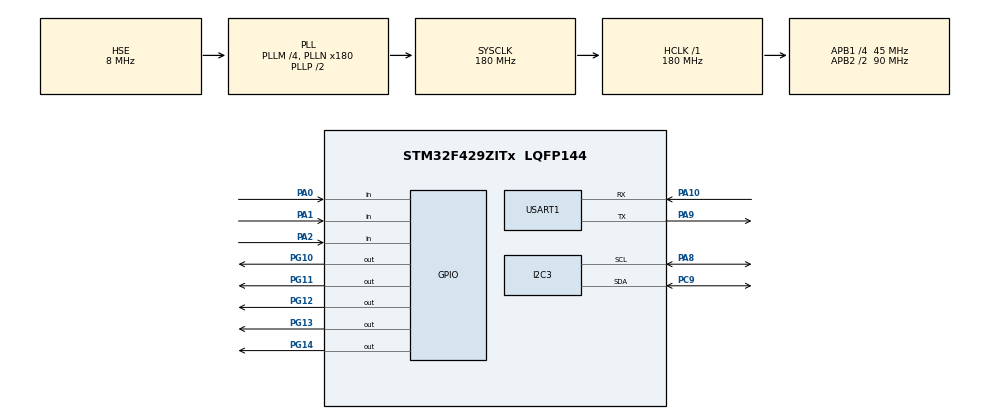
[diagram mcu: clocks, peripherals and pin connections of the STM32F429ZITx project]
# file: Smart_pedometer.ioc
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FREERTOS.Tasks01=defaultTask,24,128,StartDefaultTask,Default,NULL,Dynamic,NULL,NULL
Mcu.Family=STM32F4
Mcu.Name=STM32F429ZITx
Mcu.Package=LQFP144
NVIC.PriorityGroup=NVIC_PRIORITYGROUP_4
PA0/WKUP.GPIO_PuPd=GPIO_PULLDOWN
PA0/WKUP.Signal=GPIO_Input
PA1.GPIO_PuPd=GPIO_PULLDOWN
PA1.Signal=GPIO_Input
PA10.Mode=Asynchronous
PA10.Signal=USART1_RX
PA2.GPIO_PuPd=GPIO_PULLDOWN
PA2.Signal=GPIO_Input
PA8.Mode=I2C
PA8.Signal=I2C3_SCL
PA9.Mode=Asynchronous
PA9.Signal=USART1_TX
PC9.Mode=I2C
PC9.Signal=I2C3_SDA
PG10.Signal=GPIO_Output
PG11.Signal=GPIO_Output
PG12.Signal=GPIO_Output
PG13.Signal=GPIO_Output
PG14.Signal=GPIO_Output
PH0/OSC_IN.Mode=HSE-External-Oscillator
PH0/OSC_IN.Signal=RCC_OSC_IN
PH1/OSC_OUT.Mode=HSE-External-Oscillator
PH1/OSC_OUT.Signal=RCC_OSC_OUT
ProjectManager.HeapSize=0x200
ProjectManager.StackSize=0x400
ProjectManager.TargetToolchain=STM32CubeIDE
RCC.48MHZClocksFreq_Value=90000000
RCC.AHBFreq_Value=180000000
RCC.APB1CLKDivider=RCC_HCLK_DIV4
RCC.APB1Freq_Value=45000000
RCC.APB1TimFreq_Value=90000000
RCC.APB2CLKDivider=RCC_HCLK_DIV2
RCC.APB2Freq_Value=90000000
RCC.APB2TimFreq_Value=180000000
RCC.CortexFreq_Value=180000000
RCC.HCLKFreq_Value=180000000
RCC.HSE_VALUE=8000000
RCC.HSI_VALUE=16000000
RCC.LSE_VALUE=32768
RCC.PLLM=4
RCC.PLLN=180
RCC.PLLSourceVirtual=RCC_PLLSOURCE_HSE
RCC.SYSCLKFreq_VALUE=180000000
RCC.SYSCLKSource=RCC_SYSCLKSOURCE_PLLCLK
RCC.VCOOutputFreq_Value=360000000
USART1.VirtualMode=VM_ASYNC
VP_FREERTOS_VS_CMSIS_V2.Mode=CMSIS_V2
board=custom

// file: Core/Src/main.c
/* USER CODE BEGIN Header */
/**
  ******************************************************************************
  * @file           : main.c
  * @brief          : Main program body
  ******************************************************************************
  * @attention
  *
  * Copyright (c) 2026 STMicroelectronics.
  * All rights reserved.
  *
  * This software is licensed under terms that can be found in the LICENSE file
  * in the root directory of this software component.
  * If no LICENSE file comes with this software, it is provided AS-IS.
  *
  ******************************************************************************
  */
/* USER CODE END Header */
#include "main.h"
#include "cmsis_os.h"

/* USER CODE BEGIN Includes */
#include <stdio.h>
#include <string.h>
#include<math.h>

void MPU6050_Init(void);
void MPU6050_Read(void);
#define MPU6050_ADDR (0x68 << 1)
#define SCALE_FACTOR 131.0
#define THRESHOLD 19660
#define SWING 15
uint8_t data[14];
 int16_t Ax, Ay, Az, Gx, Gy, Gz;
 char uart_buf[100];
/* USER CODE END Includes */

I2C_HandleTypeDef hi2c3;

UART_HandleTypeDef huart1;

/* Definitions for defaultTask */
osThreadId_t defaultTaskHandle;
const osThreadAttr_t defaultTask_attributes = {
  .name = "defaultTask",
  .stack_size = 128 * 4,
  .priority = (osPriority_t) osPriorityNormal,
};

void SystemClock_Config(void);
static void MX_GPIO_Init(void);
static void MX_USART1_UART_Init(void);
static void MX_I2C3_Init(void);
void StartDefaultTask(void *argument);

/* USER CODE BEGIN 0 */
TaskHandle_t sensortask;
TaskHandle_t pedometer;
TaskHandle_t alert;
uint8_t step_count=0;
float acc_magnitude;
float prev_magnitude;
float gyro_y_dps;

void* SensorTask(void *arg);
void* Pedometer_Process(void *arg);
void* AlertTask(void *arg);

void MPU6050_Init(void)
{
  uint8_t check;
  uint8_t data;

  // Check WHO_AM_I
  HAL_I2C_Mem_Read(&hi2c3, MPU6050_ADDR, 0x75, 1, &check, 1, HAL_MAX_DELAY);

  // Wake up MPU6050
  data = 0;
  HAL_I2C_Mem_Write(&hi2c3, MPU6050_ADDR, 0x6B, 1, &data, 1, HAL_MAX_DELAY);

  // Set accel ±2g
  data = 0x00;
  HAL_I2C_Mem_Write(&hi2c3, MPU6050_ADDR, 0x1C, 1, &data, 1, HAL_MAX_DELAY);

  // Set gyro ±250 dps
  data = 0x00;
  HAL_I2C_Mem_Write(&hi2c3, MPU6050_ADDR, 0x1B, 1, &data, 1, HAL_MAX_DELAY);
}
void MPU6050_Read(void)
{
  HAL_I2C_Mem_Read(&hi2c3, MPU6050_ADDR, 0x3B, 1, data, 14, HAL_MAX_DELAY);

  Ax = (int16_t)(data[0] << 8 | data[1]);
  Ay = (int16_t)(data[2] << 8 | data[3]);
  Az = (int16_t)(data[4] << 8 | data[5]);

  Gx = (int16_t)(data[8] << 8 | data[9]);
  Gy = (int16_t)(data[10] << 8 | data[11]);
  Gz = (int16_t)(data[12] << 8 | data[13]);
}
int _write(int file, char *str, int size) {
	HAL_UART_Transmit(&huart1, (uint8_t*) str, size, HAL_MAX_DELAY);
	return size;
}

/* USER CODE END 0 */

int main(void)
{

  /* MCU Configuration--------------------------------------------------------*/

  /* Reset of all peripherals, Initializes the Flash interface and the Systick. */
  HAL_Init();

  /* Configure the system clock */
  SystemClock_Config();

  /* Initialize all configured peripherals */
  MX_GPIO_Init();
  MX_USART1_UART_Init();
  MX_I2C3_Init();
  /* USER CODE BEGIN 2 */
  MPU6050_Init();

  xTaskCreate(SensorTask, "sensortask", 256, NULL,1, &sensortask);
  xTaskCreate(Pedometer_Process, "pedometer", 256, NULL, 1, &pedometer);
  xTaskCreate(AlertTask, "alert", 256, NULL, 1, &alert);

  vTaskStartScheduler();
  /* USER CODE END 2 */

  /* Init scheduler */
  //osKernelInitialize();

  /* Create the thread(s) */
  /* creation of defaultTask */
  defaultTaskHandle = osThreadNew(StartDefaultTask, NULL, &defaultTask_attributes);

  /* Start scheduler */
  osKernelStart();

  /* We should never get here as control is now taken by the scheduler */

  /* Infinite loop */
  /* USER CODE BEGIN WHILE */

//  MPU6050_Init();
  //HAL_Delay(100);
//  uint8_t who;
//  HAL_I2C_Mem_Read(&hi2c3, MPU6050_ADDR, 0x75, 1, &who, 1, HAL_MAX_DELAY);
//
//  sprintf(uart_buf, "WHO_AM_I = 0x%X\r\n", who);
//  HAL_UART_Transmit(&huart1,(uint8_t*)uart_buf,strlen(uart_buf),HAL_MAX_DELAY);
//  for(uint8_t i=0;i<128;i++)
//  {
//    if(HAL_I2C_IsDeviceReady(&hi2c3, i<<1, 1, 10)==HAL_OK)
//    {
//      sprintf(uart_buf,"Found device at 0x%X\r\n", i);
//      HAL_UART_Transmit(&huart1,(uint8_t*)uart_buf,strlen(uart_buf),HAL_MAX_DELAY);
//    }
//    else{
//    	sprintf(uart_buf,"Found not device at 0x%X\r\n", i);
//    	HAL_UART_Transmit(&huart1,(uint8_t*)uart_buf,strlen(uart_buf),HAL_MAX_DELAY);
//    }
//  }
  while (1)
  {
    /* USER CODE END WHILE */

    /* USER CODE BEGIN 3 */
//	  if (delay++ == 3000000) {
//		  delay = 0;
//			MPU6050_Read();
//			sprintf(uart_buf, "Ax=%d Ay=%d Az=%d | Gx=%d Gy=%d Gz=%d\r\n", Ax, Ay, Az, Gx, Gy, Gz);
//			HAL_UART_Transmit(&huart1, (uint8_t*)uart_buf, strlen(uart_buf), HAL_MAX_DELAY);
//			HAL_GPIO_TogglePin(GPIOG, GPIO_PIN_13);
//	  }
  }
  /* USER CODE END 3 */
}

void SystemClock_Config(void)
{
  RCC_OscInitTypeDef RCC_OscInitStruct = {0};
  RCC_ClkInitTypeDef RCC_ClkInitStruct = {0};

  /** Configure the main internal regulator output voltage
  */
  __HAL_RCC_PWR_CLK_ENABLE();
  __HAL_PWR_VOLTAGESCALING_CONFIG(PWR_REGULATOR_VOLTAGE_SCALE1);

  /** Initializes the RCC Oscillators according to the specified parameters
  * in the RCC_OscInitTypeDef structure.
  */
  RCC_OscInitStruct.OscillatorType = RCC_OSCILLATORTYPE_HSE;
  RCC_OscInitStruct.HSEState = RCC_HSE_ON;
  RCC_OscInitStruct.PLL.PLLState = RCC_PLL_ON;
  RCC_OscInitStruct.PLL.PLLSource = RCC_PLLSOURCE_HSE;
  RCC_OscInitStruct.PLL.PLLM = 4;
  RCC_OscInitStruct.PLL.PLLN = 180;
  RCC_OscInitStruct.PLL.PLLP = RCC_PLLP_DIV2;
  RCC_OscInitStruct.PLL.PLLQ = 4;
  if (HAL_RCC_OscConfig(&RCC_OscInitStruct) != HAL_OK)
  {
    Error_Handler();
  }

  /** Activate the Over-Drive mode
  */
  if (HAL_PWREx_EnableOverDrive() != HAL_OK)
  {
    Error_Handler();
  }

  /** Initializes the CPU, AHB and APB buses clocks
  */
  RCC_ClkInitStruct.ClockType = RCC_CLOCKTYPE_HCLK|RCC_CLOCKTYPE_SYSCLK
                              |RCC_CLOCKTYPE_PCLK1|RCC_CLOCKTYPE_PCLK2;
  RCC_ClkInitStruct.SYSCLKSource = RCC_SYSCLKSOURCE_PLLCLK;
  RCC_ClkInitStruct.AHBCLKDivider = RCC_SYSCLK_DIV1;
  RCC_ClkInitStruct.APB1CLKDivider = RCC_HCLK_DIV4;
  RCC_ClkInitStruct.APB2CLKDivider = RCC_HCLK_DIV2;

  if (HAL_RCC_ClockConfig(&RCC_ClkInitStruct, FLASH_LATENCY_5) != HAL_OK)
  {
    Error_Handler();
  }
}

static void MX_I2C3_Init(void)
{

  hi2c3.Instance = I2C3;
  hi2c3.Init.ClockSpeed = 100000;
  hi2c3.Init.DutyCycle = I2C_DUTYCYCLE_2;
  hi2c3.Init.OwnAddress1 = 0;
  hi2c3.Init.AddressingMode = I2C_ADDRESSINGMODE_7BIT;
  hi2c3.Init.DualAddressMode = I2C_DUALADDRESS_DISABLE;
  hi2c3.Init.OwnAddress2 = 0;
  hi2c3.Init.GeneralCallMode = I2C_GENERALCALL_DISABLE;
  hi2c3.Init.NoStretchMode = I2C_NOSTRETCH_DISABLE;
  if (HAL_I2C_Init(&hi2c3) != HAL_OK)
  {
    Error_Handler();
  }

  /** Configure Analogue filter
  */
  if (HAL_I2CEx_ConfigAnalogFilter(&hi2c3, I2C_ANALOGFILTER_ENABLE) != HAL_OK)
  {
    Error_Handler();
  }

  /** Configure Digital filter
  */
  if (HAL_I2CEx_ConfigDigitalFilter(&hi2c3, 0) != HAL_OK)
  {
    Error_Handler();
  }

}

static void MX_USART1_UART_Init(void)
{

  huart1.Instance = USART1;
  huart1.Init.BaudRate = 115200;
  huart1.Init.WordLength = UART_WORDLENGTH_8B;
  huart1.Init.StopBits = UART_STOPBITS_1;
  huart1.Init.Parity = UART_PARITY_NONE;
  huart1.Init.Mode = UART_MODE_TX_RX;
  huart1.Init.HwFlowCtl = UART_HWCONTROL_NONE;
  huart1.Init.OverSampling = UART_OVERSAMPLING_16;
  if (HAL_UART_Init(&huart1) != HAL_OK)
  {
    Error_Handler();
  }

}

static void MX_GPIO_Init(void)
{
  GPIO_InitTypeDef GPIO_InitStruct = {0};

  /* GPIO Ports Clock Enable */
  __HAL_RCC_GPIOH_CLK_ENABLE();
  __HAL_RCC_GPIOA_CLK_ENABLE();
  __HAL_RCC_GPIOC_CLK_ENABLE();
  __HAL_RCC_GPIOG_CLK_ENABLE();

  /*Configure GPIO pin Output Level */
  HAL_GPIO_WritePin(GPIOG, GPIO_PIN_10|GPIO_PIN_11|GPIO_PIN_12|GPIO_PIN_13
                          |GPIO_PIN_14, GPIO_PIN_RESET);

  /*Configure GPIO pins : PA0 PA1 PA2 */
  GPIO_InitStruct.Pin = GPIO_PIN_0|GPIO_PIN_1|GPIO_PIN_2;
  GPIO_InitStruct.Mode = GPIO_MODE_INPUT;
  GPIO_InitStruct.Pull = GPIO_PULLDOWN;
  HAL_GPIO_Init(GPIOA, &GPIO_InitStruct);

  /*Configure GPIO pins : PG10 PG11 PG12 PG13
                           PG14 */
  GPIO_InitStruct.Pin = GPIO_PIN_10|GPIO_PIN_11|GPIO_PIN_12|GPIO_PIN_13
                          |GPIO_PIN_14;
  GPIO_InitStruct.Mode = GPIO_MODE_OUTPUT_PP;
  GPIO_InitStruct.Pull = GPIO_NOPULL;
  GPIO_InitStruct.Speed = GPIO_SPEED_FREQ_LOW;
  HAL_GPIO_Init(GPIOG, &GPIO_InitStruct);

}

/* USER CODE BEGIN 4 */
void SensorTask(void *arg){
	for(;;){
		MPU6050_Read();
		//printf("Ax=%d:Ay=%d:Az=%d | Gx=%d:Gy:%d:Gz=%d\r\n",Ax,Ay,Az,Gx,Gy,Gz);
		vTaskDelay(pdMS_TO_TICKS(20));
	}
}

void Pedometer_Process(void *arg){
	for(;;){
		acc_magnitude = sqrt((Ax * Ax) +(Ay * Ay) +(Az * Az));
		gyro_y_dps = Gy / SCALE_FACTOR;
		if((acc_magnitude > THRESHOLD) && (prev_magnitude < THRESHOLD) && (gyro_y_dps > SWING))
		{
			step_count++;
			xTaskNotifyGive(alert);
			vTaskDelay(pdMS_TO_TICKS(250));
		}
		prev_magnitude=acc_magnitude;
		vTaskDelay(pdMS_TO_TICKS(20));
	}
}

void AlertTask(void *arg){
	for(;;){
		ulTaskNotifyTake(pdTRUE, portMAX_DELAY);
		printf("step count->%d\r\n",step_count);
		vTaskDelay(pdMS_TO_TICKS(100));
	}
}
/* USER CODE END 4 */

void StartDefaultTask(void *argument)
{
  for(;;)
  {
    osDelay(1);
  }
}

void Error_Handler(void)
{
  __disable_irq();
  while (1)
  {
  }
}
